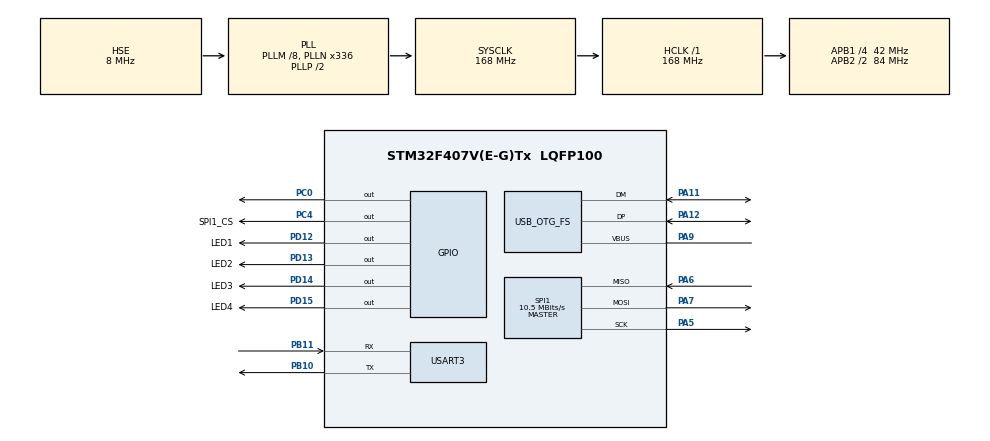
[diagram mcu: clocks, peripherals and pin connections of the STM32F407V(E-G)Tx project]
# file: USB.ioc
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FATFS._FS_EXFAT=1
FATFS._MAX_SS=4096
FATFS._USE_LFN=1
Mcu.Family=STM32F4
Mcu.Name=STM32F407V(E-G)Tx
Mcu.Package=LQFP100
NVIC.OTG_FS_IRQn=true\:0\:0\:false\:false\:true\:true\:true
NVIC.PriorityGroup=NVIC_PRIORITYGROUP_0
PA11.Mode=Host_Only
PA11.Signal=USB_OTG_FS_DM
PA12.Mode=Host_Only
PA12.Signal=USB_OTG_FS_DP
PA5.Mode=Full_Duplex_Master
PA5.Signal=SPI1_SCK
PA6.Mode=Full_Duplex_Master
PA6.Signal=SPI1_MISO
PA7.Mode=Full_Duplex_Master
PA7.Signal=SPI1_MOSI
PA9.Mode=Activate_VBUS
PA9.Signal=USB_OTG_FS_VBUS
PB10.Mode=Asynchronous
PB10.Signal=USART3_TX
PB11.Mode=Asynchronous
PB11.Signal=USART3_RX
PC0.Signal=GPIO_Output
PC4.GPIO_Label=SPI1_CS
PC4.Signal=GPIO_Output
PD12.GPIO_Label=LED1
PD12.Signal=GPIO_Output
PD13.GPIO_Label=LED2
PD13.Signal=GPIO_Output
PD14.GPIO_Label=LED3
PD14.Signal=GPIO_Output
PD15.GPIO_Label=LED4
PD15.Signal=GPIO_Output
PH0-OSC_IN.Mode=HSE-External-Oscillator
PH0-OSC_IN.Signal=RCC_OSC_IN
PH1-OSC_OUT.Mode=HSE-External-Oscillator
PH1-OSC_OUT.Signal=RCC_OSC_OUT
ProjectManager.HeapSize=0x2000
ProjectManager.StackSize=0x2000
ProjectManager.TargetToolchain=STM32CubeIDE
RCC.48MHZClocksFreq_Value=48000000
RCC.AHBFreq_Value=168000000
RCC.APB1CLKDivider=RCC_HCLK_DIV4
RCC.APB1Freq_Value=42000000
RCC.APB1TimFreq_Value=84000000
RCC.APB2CLKDivider=RCC_HCLK_DIV2
RCC.APB2Freq_Value=84000000
RCC.APB2TimFreq_Value=168000000
RCC.CortexFreq_Value=168000000
RCC.HCLKFreq_Value=168000000
RCC.HSE_VALUE=8000000
RCC.HSI_VALUE=16000000
RCC.LSE_VALUE=32768
RCC.PLLM=8
RCC.PLLN=336
RCC.PLLQ=7
RCC.SYSCLKFreq_VALUE=168000000
RCC.SYSCLKSource=RCC_SYSCLKSOURCE_PLLCLK
RCC.VCOOutputFreq_Value=336000000
SPI1.BaudRatePrescaler=SPI_BAUDRATEPRESCALER_8
SPI1.CalculateBaudRate=10.5 MBits/s
SPI1.Direction=SPI_DIRECTION_2LINES
SPI1.Mode=SPI_MODE_MASTER
SPI1.VirtualType=VM_MASTER
USART3.VirtualMode=VM_ASYNC
USB_HOST.BSP.number=1
USB_HOST.USBH_HandleTypeDef-MSC_FS=hUsbHostFS
USB_HOST.USBH_MAX_DATA_BUFFER-MSC_FS=4096
USB_HOST.USBH_MAX_SIZE_CONFIGURATION-MSC_FS=512
USB_HOST.VirtualModeFS=Msc
USB_HOST0.BSP.STBoard=false
USB_HOST0.BSP.api=Unknown
USB_HOST0.BSP.i2caddr=0
USB_HOST0.BSP.instance=PC0
USB_HOST0.BSP.ip=GPIO
USB_HOST0.BSP.mode=Output
USB_HOST0.BSP.name=Drive_VBUS_FS
USB_HOST0.BSP.solution=PC0
USB_OTG_FS.VirtualMode=Host_Only
USB_OTG_FS.phy_itface=HCD_PHY_EMBEDDED
VP_FATFS_VS_Generic.Mode=User_defined
VP_FATFS_VS_USB.Mode=USB
VP_USB_HOST_VS_USB_HOST_MSC_FS.Mode=MSC_FS
board=STM32F407G-DISC1

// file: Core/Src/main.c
/* USER CODE BEGIN Header */
/**
  ******************************************************************************
  * @file           : main.c
  * @brief          : Main program body
  ******************************************************************************
  * @attention
  *
  * Copyright (c) 2021 STMicroelectronics.
  * All rights reserved.
  *
  * This software is licensed under terms that can be found in the LICENSE file
  * in the root directory of this software component.
  * If no LICENSE file comes with this software, it is provided AS-IS.
  *
  ******************************************************************************
  */
/* USER CODE END Header */
#include "main.h"
#include "fatfs.h"
#include "spi.h"
#include "usart.h"
#include "usb_host.h"
#include "gpio.h"
#include <system_error_list.h>

/* USER CODE BEGIN Includes */

#include "retarget.h"
#include "fatfs_sd.h"
#include "File_Handling.h"

/* USER CODE END Includes */

/* USER CODE BEGIN PTD */
/*This unique is own my board*/
#define UNIQUEID_BASE_ADDRESS 0x1FFF7A10

#define UNIQUEID_2   38363134
#define UNIQUEID_1 	 34394701
#define UNIQUEID_0   00310019

#define APP_VERSION_MAX 	(0x1U)
#define APP_VERSION_MIN 	(0x0U)
#define APP_VERSION_SMIN 	(0x3U)

#define __STM32F4xx_HAL_VERSION_MAIN   (0x01U) /*!< [31:24] main version */
#define __STM32F4xx_HAL_VERSION_SUB1   (0x07U) /*!< [23:16] sub1 version */
#define __STM32F4xx_HAL_VERSION_SUB2   (0x0DU) /*!< [15:8]  sub2 version */

#define BUFFER_SIZE 4096

/* USER CODE END PTD */

void SystemClock_Config(void);
void MX_USB_HOST_Process(void);

/* USER CODE BEGIN PFP */
void toggleinfoled(GPIO_TypeDef* Portx, uint16_t Portnumber, int delay);
int file_copy(const char * src_path, const char *dest_path);

void task_app(void);
void task_filecopy(void);

/* USER CODE END PFP */

/* USER CODE BEGIN 0 */
/*****************************************************************************************************************/
/*UNIQUE ID */

void write_uniqueID(void){

	const uint32_t *unique_id = (uint32_t*)(UNIQUEID_BASE_ADDRESS);
	printf("UNIQUE_CHIP_ID: %08X%08X%08X \r\n",unique_id[2], unique_id[1], unique_id[0]);

	const uint32_t *unique_id1 = (uint32_t*)(UNIQUEID_BASE_ADDRESS);
	const uint32_t *unique_id2 = (uint32_t*)(UNIQUEID_BASE_ADDRESS+4);
	const uint32_t *unique_id3 = (uint32_t*)(UNIQUEID_BASE_ADDRESS+8);

	printf("UNIQUE_CHIP_ID3: %08X\r\n", *unique_id3);
	printf("UNIQUE_CHIP_ID2: %08X\r\n", *unique_id2);
	printf("UNIQUE_CHIP_ID1: %08X\r\n", *unique_id1);
}

/*USB*/
extern ApplicationTypeDef Appli_state;
extern USBH_StatusTypeDef usb_status;
extern USBH_HandleTypeDef hUsbHostFS;

/***************************************/
/*USB HANDLES*/
extern uint8_t retUSBH; /* Return value for USBH */
extern char USBHPath[4];   /* USBH logical drive path */
extern FATFS USBHFatFS;    /* File system object for USBH logical drive */
extern FIL USBHFile;       /* File object for USBH */
extern FILINFO USBHfno;
extern UINT USB_br, USB_bw;  // File read/write count

/*SD HANDLES*/
extern uint8_t retUSER;    /* Return value for USER */
extern char USERPath[4];   /* USER logical drive path */
extern FATFS USERFatFS;    /* File system object for USER logical drive */
extern FIL USERFile;       /* File object for USER */
extern FILINFO SDfno;
extern UINT SD_br, SD_bw;  		// File read/write count

/***************************************/
char char_buffer[2];

char path_SD[20];
char path_USB[20];
/***************************************/
/*Flags*/
uint8_t usb_flag;			// 0 is pasive 1 is active
uint8_t usb_wrflag;			// 0 is write 1 is read

extern uint16_t Timer3;
/*******************************************/
/*
to find the size of data in buffer
int bufsize(char *buf){
	int i = 0;
	while(*buf++ != '\0') i++;
	return i;
}

*/

/*
clear buffer
char char_buffer[4096];	// to storage data
void bufclear(void){
	for(int i = 0; i < 1024 ; i++)
		char_buffer[i]= '\0';
}
*/
/*****************************************************************************************************************/
/* USER CODE END 0 */

int main(void){

  /* MCU Configuration--------------------------------------------------------*/

  /* Reset of all peripherals, Initializes the Flash interface and the Systick. */
  HAL_Init();

  /* Configure the system clock */
  SystemClock_Config();

  /* Initialize all configured peripherals */
  MX_GPIO_Init();
  MX_FATFS_Init();
  MX_USB_HOST_Init();
  MX_USART3_UART_Init();
  MX_SPI1_Init();

  /* USER CODE BEGIN 2 */

  RetargetInit(&huart3);
  printf("**********************************************************\r\n");
  printf("APPLICATION_VERSION	: \"v%d.%d.%d\"\r\n", APP_VERSION_MAX,APP_VERSION_MIN,APP_VERSION_SMIN);
  printf("STM32F4xx_HAL_VERSION	: \"v%d.%d.%d\"\r\n", __STM32F4xx_HAL_VERSION_MAIN,__STM32F4xx_HAL_VERSION_SUB1,__STM32F4xx_HAL_VERSION_SUB2);
  printf("STM32F4xx_CMSIS_VERSION	: \"v%d.%d.%d\"\r\n", __STM32F4xx_CMSIS_VERSION_MAIN,__STM32F4xx_CMSIS_VERSION_SUB1,__STM32F4xx_CMSIS_VERSION_SUB2);
  write_uniqueID();
  printf("**********************************************************\r\n");

  /* USER CODE END 2 */

  /* Infinite loop */
  /* USER CODE BEGIN WHILE */
  Timer3 = 3000;	// if the USB is not mounted --check the condition 3sn then go your main loop

  while (1){

		 task_app();
		 task_filecopy();

    /* USER CODE END WHILE */

  }
}

void SystemClock_Config(void)
{
  RCC_OscInitTypeDef RCC_OscInitStruct = {0};
  RCC_ClkInitTypeDef RCC_ClkInitStruct = {0};

  /** Configure the main internal regulator output voltage
  */
  __HAL_RCC_PWR_CLK_ENABLE();
  __HAL_PWR_VOLTAGESCALING_CONFIG(PWR_REGULATOR_VOLTAGE_SCALE1);
  /** Initializes the RCC Oscillators according to the specified parameters
  * in the RCC_OscInitTypeDef structure.
  */
  RCC_OscInitStruct.OscillatorType = RCC_OSCILLATORTYPE_HSE;
  RCC_OscInitStruct.HSEState = RCC_HSE_ON;
  RCC_OscInitStruct.PLL.PLLState = RCC_PLL_ON;
  RCC_OscInitStruct.PLL.PLLSource = RCC_PLLSOURCE_HSE;
  RCC_OscInitStruct.PLL.PLLM = 8;
  RCC_OscInitStruct.PLL.PLLN = 336;
  RCC_OscInitStruct.PLL.PLLP = RCC_PLLP_DIV2;
  RCC_OscInitStruct.PLL.PLLQ = 7;
  if (HAL_RCC_OscConfig(&RCC_OscInitStruct) != HAL_OK)
  {
    Error_Handler();
  }
  /** Initializes the CPU, AHB and APB buses clocks
  */
  RCC_ClkInitStruct.ClockType = RCC_CLOCKTYPE_HCLK|RCC_CLOCKTYPE_SYSCLK
                              |RCC_CLOCKTYPE_PCLK1|RCC_CLOCKTYPE_PCLK2;
  RCC_ClkInitStruct.SYSCLKSource = RCC_SYSCLKSOURCE_PLLCLK;
  RCC_ClkInitStruct.AHBCLKDivider = RCC_SYSCLK_DIV1;
  RCC_ClkInitStruct.APB1CLKDivider = RCC_HCLK_DIV4;
  RCC_ClkInitStruct.APB2CLKDivider = RCC_HCLK_DIV2;

  if (HAL_RCC_ClockConfig(&RCC_ClkInitStruct, FLASH_LATENCY_5) != HAL_OK)
  {
    Error_Handler();
  }
}

/* USER CODE BEGIN 4 */
void task_app(void){
	if(hUsbHostFS.gState == HOST_IDLE && !Timer3){
		printf("**********************************************************\r\n");
		printf(">SYS_INFO: Application is running now\r\n");
		printf("**********************************************************\r\n");
		while(1){
			toggleinfoled(LED1_GPIO_Port, LED1_Pin, 100);
		}
	}
}

void task_filecopy(void){
	  MX_USB_HOST_Process();
	  if((Appli_state == APPLICATION_READY) && (hUsbHostFS.gState == HOST_CLASS) && (usb_status == USBH_OK)){
		  printf("**********************************************************\r\n");
		  printf(">SYS_INFO: Files will be copied from USB Driver \"0:\\\" to SD_CARD Driver \"1:\\\" \r\n");
		  printf("**********************************************************\r\n");

		  Check_USB_Details();   // check space details
		  printf("\r\n");
		  Scan_USB(USBHPath);

		  /*
  //testing : Creating random files in USB   _NOTE: Once you run this code keep back in comment &  rebuild it again the codes
  // this comment code create random file
	  	  if(Create_Dir("0://ERA")!=FR_OK){
	  		 printf(">USB:Directory already exist or Create Error!\r\n");
	  	  }else{
	  		for(int i = 1; i<51;i++){
	  			sprintf(path_USB,"0://ERA/ses_%d.txt",i);
	    		file_copy("0://USBERA/USBemre.txt", path_USB);
	    	  }
	  		}
*/
		  Read_File("0://ERA/ses_35.txt");

		  if(Mount_SD()){
			  HAL_GPIO_WritePin(LED3_GPIO_Port, LED3_Pin, GPIO_PIN_SET);
			  printf(">SD : There is no any SD CARD\r\n");
			  Error_Handler();
		  }
		  else{
			  /*Check free space*/
			  Check_SDCARD_Details();
			  printf("\r\n");
			  Format_SD();
/**************************************************************************/

			  for ( int i = 1; i<51;i++){
				  sprintf(path_USB,"0://ERA//ses_%d.txt",i);
				  sprintf(path_SD,"1://ses_%d.txt",i);
				  file_copy(path_USB, path_SD);
				 Read_SD_File(path_SD);
			  }
			   Scan_SD(USERPath);				// USERPath is SD CARD
			  Read_SD_File("1://ses_35.txt");

/**************************************************************************/
			  UnMount_SD();
		  }
		  Unmount_USB();
		  printf("**********************************************************\r\n");
		  printf("**********************************************************\r\n");
		  hUsbHostFS.gState = HOST_IDLE;
  }
}

int file_copy(const char *src_path, const char *dest_path){

	 if (f_stat (src_path, &USBHfno) != FR_OK){
			printf ("\r\n>USB: ERROR!!! File does not exists\r\n");
			return 1;
	  }else{
		  if(f_open(&USBHFile,src_path,FA_OPEN_ALWAYS|FA_READ)!= FR_OK){
			printf ("\r\n>USB: ERROR!!! File does not open\r\n");
			return 1;
		  }
		  else{
	  		  if(f_open(&USERFile,dest_path,FA_OPEN_ALWAYS|FA_CREATE_ALWAYS|FA_READ|FA_WRITE)!= FR_OK){
	  			printf ("\r\n >SD : ERROR!!! File can not Create/Write\r\n");			//1 bak
	  			return 1;
	  		  }
	  		  else{

	  		    if(f_size(&USBHFile) == 0 || f_size(&USBHFile) < BUFFER_SIZE){
	  		  	BYTE *small_buffer;

	  		    	if((small_buffer = (BYTE*)malloc((int)f_size(&USBHFile)*sizeof(BYTE))) == NULL){
	  		    		printf(">USB:Dinamic Memory is not allocated\r\n");
	  		    	}
	  		    	else{
	  			    	while (!f_eof(&USBHFile)){
	  			    		memset((void*)small_buffer, 0 , f_size(&USBHFile));
	  						if(f_read(&USBHFile, small_buffer, (int)f_size(&USBHFile), &USB_br) != FR_OK){
	  							printf(">USB:Read Error\r\n");
	  							return 1;
	  						}
	  			    		if(!USB_br) return 1;

	  			    		for (int i = 0; i< f_size(&USBHFile); i++){
			  					sprintf(&char_buffer[0],"%c",*(BYTE*)(small_buffer + i));
			  					f_write(&USERFile,(const void *)&char_buffer[0], 1, &SD_br);
	  			    		}
	  			    		memset((void*)small_buffer, 0 , f_size(&USBHFile));
	  			    		free((void*)small_buffer);
	  			    	}
	  		    	}
	  		    }

	  		    else{
		  		  	BYTE * pbuffer;
		  		    if((pbuffer = (BYTE*)malloc(BUFFER_SIZE*sizeof(BYTE))) == NULL){
		  		    	printf(">USB:Dinamic Memory is not allocated\r\n");
		  		    }
		  		    else{
				  		for (int k = 0; k < f_size(&USBHFile)/BUFFER_SIZE; k++){
				  			if(f_read(&USBHFile, pbuffer, BUFFER_SIZE, &USB_br) != FR_OK){
				  				printf(">SD :Read Error\r\n");
				  				break;
				  			}

				  			for(int i = 0; i < BUFFER_SIZE ; i++){
				  				sprintf(&char_buffer[0],"%c",*(BYTE*)(pbuffer + i));
				  				f_write(&USERFile,(const void *)&char_buffer[0], 1, &SD_br);
				  			}
				  			memset(pbuffer, 0, BUFFER_SIZE);
				  			f_lseek(&USBHFile, (k + 1) * BUFFER_SIZE);
				  		}
				  		free((void*)pbuffer);
		  		    }
	  		    }
	  		 }
		  }

		f_close(&USBHFile);
		f_close(&USERFile);

	  }
	 return 0;
}

void toggleinfoled(GPIO_TypeDef* Portx, uint16_t Portnumber, int delay){
	int isOn;
	int delay1;

	isOn = !isOn;

	if(isOn == TRUE)
	  delay1 = delay;
	else
	  delay1 = delay;

	HAL_GPIO_WritePin(Portx, Portnumber, isOn);
	HAL_Delay(delay1);
}

/* USER CODE END 4 */

void Error_Handler(void)
{
  __disable_irq();
  while (1)
  {
  }
}
